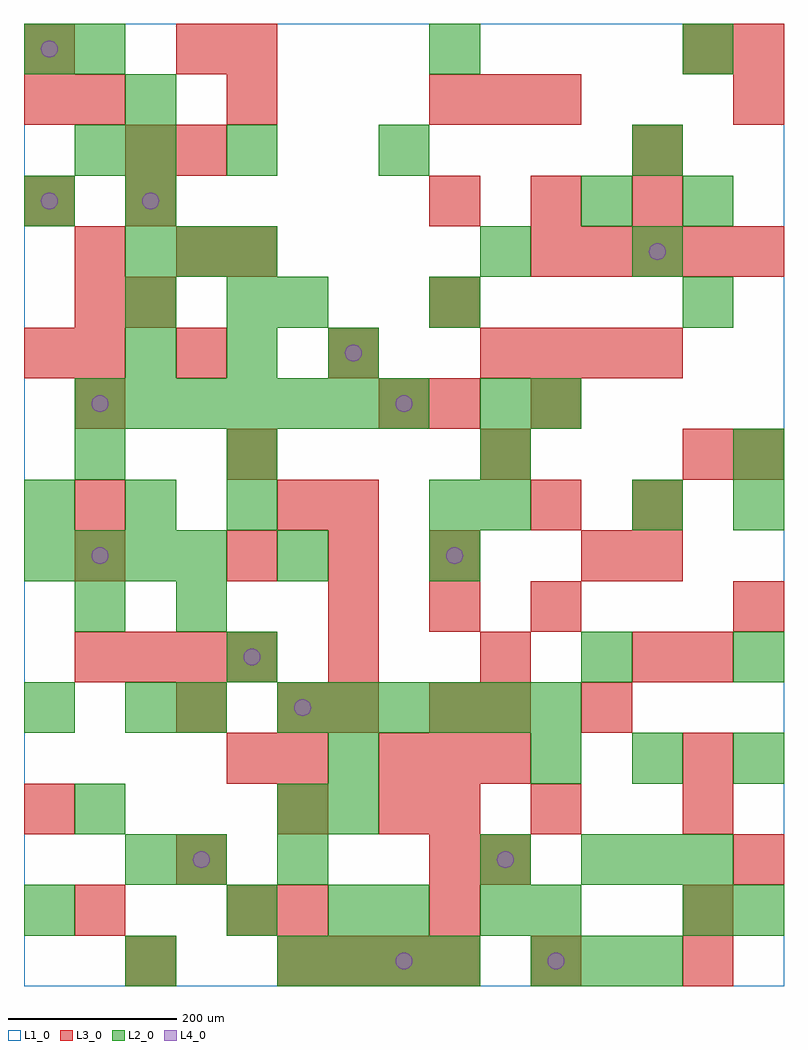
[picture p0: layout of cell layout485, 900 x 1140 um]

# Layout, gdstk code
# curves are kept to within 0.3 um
import gdstk
lib = gdstk.Library(unit=1e-6, precision=1e-09)
def R(c, l, rs):  # rectangles x0, y0, x1, y1
    for r in rs: c.add(gdstk.rectangle(r[:2], r[2:], *l))
def A(c, l, x, y, w, h, nx, ny, dx, dy):  # array of equal rectangles
    R(c, l, [(x+i*dx, y+j*dy, x+i*dx+w, y+j*dy+h) for i in range(nx) for j in range(ny)])
def P(c, l, *ps):  # polygons
    for p in ps: c.add(gdstk.Polygon(p, *l))
L1_0 = (1, 0)
L2_0 = (2, 0)
L3_0 = (3, 0)
L4_0 = (4, 0)

layout485 = lib.new_cell('layout485')
R(layout485, L1_0, [(0,0,900,1140)])
A(layout485, L2_0, 300, 0, 60, 60, 4, 1, 60, 0)
A(layout485, L2_0, 600, 0, 60, 60, 3, 1, 60, 0)
A(layout485, L2_0, 660, 120, 60, 60, 3, 1, 60, 0)
A(layout485, L2_0, 300, 180, 60, 60, 1, 3, 0, 300)
A(layout485, L2_0, 600, 240, 60, 60, 3, 1, 120, 0)
A(layout485, L2_0, 300, 300, 60, 60, 6, 1, 60, 0)
A(layout485, L2_0, 0, 480, 60, 60, 4, 1, 60, 0)
A(layout485, L2_0, 0, 540, 60, 60, 3, 1, 120, 0)
A(layout485, L2_0, 240, 600, 60, 60, 3, 1, 300, 0)
A(layout485, L2_0, 60, 660, 60, 60, 7, 1, 60, 0)
A(layout485, L2_0, 120, 720, 60, 60, 3, 1, 120, 0)
A(layout485, L2_0, 120, 840, 60, 60, 3, 1, 60, 0)
A(layout485, L2_0, 120, 900, 60, 60, 1, 3, 0, 60)
R(layout485, L2_0, [(120,0,180,60), (0,60,60,120), (240,60,300,120), (360,60,420,120), (420,60,480,120), (540,60,600,120), (600,60,660,120), (780,60,840,120), (840,60,900,120), (120,120,180,180), (180,120,240,180), (300,120,360,180), (540,120,600,180), (60,180,120,240), (360,180,420,240), (360,240,420,300), (0,300,60,360), (120,300,180,360), (180,300,240,360), (240,360,300,420), (660,360,720,420), (840,360,900,420), (60,420,120,480), (180,420,240,480), (480,480,540,540), (480,540,540,600), (540,540,600,600), (720,540,780,600), (840,540,900,600), (60,600,120,660), (540,660,600,720), (600,660,660,720), (120,780,180,840), (240,780,300,840), (480,780,540,840), (780,780,840,840), (540,840,600,900), (720,840,780,900), (0,900,60,960), (660,900,720,960), (780,900,840,960), (60,960,120,1020), (240,960,300,1020), (420,960,480,1020), (720,960,780,1020), (0,1080,60,1140), (60,1080,120,1140), (480,1080,540,1140), (780,1080,840,1140)])
A(layout485, L3_0, 300, 0, 60, 60, 4, 1, 60, 0)
A(layout485, L3_0, 480, 60, 60, 60, 1, 3, 0, 60)
A(layout485, L3_0, 300, 180, 60, 60, 1, 3, 0, 60)
A(layout485, L3_0, 420, 240, 60, 60, 3, 1, 60, 0)
A(layout485, L3_0, 60, 360, 60, 60, 4, 1, 60, 0)
A(layout485, L3_0, 360, 360, 60, 60, 3, 1, 180, 0)
A(layout485, L3_0, 360, 420, 60, 60, 3, 1, 120, 0)
A(layout485, L3_0, 240, 480, 60, 60, 3, 1, 120, 0)
A(layout485, L3_0, 60, 660, 60, 60, 1, 4, 0, 60)
A(layout485, L3_0, 180, 720, 60, 60, 3, 1, 180, 0)
A(layout485, L3_0, 600, 720, 60, 60, 3, 1, 60, 0)
A(layout485, L3_0, 180, 840, 60, 60, 1, 3, 0, 120)
A(layout485, L3_0, 600, 840, 60, 60, 5, 1, 60, 0)
A(layout485, L3_0, 480, 900, 60, 60, 3, 1, 120, 0)
A(layout485, L3_0, 480, 1020, 60, 60, 3, 1, 60, 0)
R(layout485, L3_0, [(120,0,180,60), (600,0,660,60), (780,0,840,60), (60,60,120,120), (240,60,300,120), (300,60,360,120), (780,60,840,120), (180,120,240,180), (540,120,600,180), (840,120,900,180), (0,180,60,240), (420,180,480,240), (600,180,660,240), (780,180,840,240), (240,240,300,300), (780,240,840,300), (180,300,240,360), (360,300,420,360), (480,300,540,360), (540,300,600,360), (660,300,720,360), (780,360,840,420), (840,420,900,480), (60,480,120,540), (660,480,720,540), (720,480,780,540), (60,540,120,600), (300,540,360,600), (360,540,420,600), (600,540,660,600), (720,540,780,600), (240,600,300,660), (540,600,600,660), (780,600,840,660), (840,600,900,660), (420,660,480,720), (480,660,540,720), (600,660,660,720), (0,720,60,780), (120,780,180,840), (480,780,540,840), (240,840,300,900), (0,900,60,960), (120,900,180,960), (120,960,180,1020), (720,960,780,1020), (0,1020,60,1080), (60,1020,120,1080), (240,1020,300,1080), (840,1020,900,1080), (0,1080,60,1140), (240,1080,300,1140), (780,1080,840,1140), (840,1080,900,1140)])
P(layout485, L4_0, [(40,930),(39.239,933.827),(37.071,937.071),(33.827,939.239),(30,940),(26.173,939.239),(22.929,937.071),(20.761,933.827),(20,930),(20.761,926.173),(22.929,922.929),(26.173,920.761),(30,920),(33.827,920.761),(37.071,922.929),(39.239,926.173)],
  [(40,1110),(39.239,1113.827),(37.071,1117.071),(33.827,1119.239),(30,1120),(26.173,1119.239),(22.929,1117.071),(20.761,1113.827),(20,1110),(20.761,1106.173),(22.929,1102.929),(26.173,1100.761),(30,1100),(33.827,1100.761),(37.071,1102.929),(39.239,1106.173)],
  [(100,510),(99.239,513.827),(97.071,517.071),(93.827,519.239),(90,520),(86.173,519.239),(82.929,517.071),(80.761,513.827),(80,510),(80.761,506.173),(82.929,502.929),(86.173,500.761),(90,500),(93.827,500.761),(97.071,502.929),(99.239,506.173)],
  [(100,690),(99.239,693.827),(97.071,697.071),(93.827,699.239),(90,700),(86.173,699.239),(82.929,697.071),(80.761,693.827),(80,690),(80.761,686.173),(82.929,682.929),(86.173,680.761),(90,680),(93.827,680.761),(97.071,682.929),(99.239,686.173)],
  [(160,930),(159.239,933.827),(157.071,937.071),(153.827,939.239),(150,940),(146.173,939.239),(142.929,937.071),(140.761,933.827),(140,930),(140.761,926.173),(142.929,922.929),(146.173,920.761),(150,920),(153.827,920.761),(157.071,922.929),(159.239,926.173)],
  [(220,150),(219.239,153.827),(217.071,157.071),(213.827,159.239),(210,160),(206.173,159.239),(202.929,157.071),(200.761,153.827),(200,150),(200.761,146.173),(202.929,142.929),(206.173,140.761),(210,140),(213.827,140.761),(217.071,142.929),(219.239,146.173)],
  [(280,390),(279.239,393.827),(277.071,397.071),(273.827,399.239),(270,400),(266.173,399.239),(262.929,397.071),(260.761,393.827),(260,390),(260.761,386.173),(262.929,382.929),(266.173,380.761),(270,380),(273.827,380.761),(277.071,382.929),(279.239,386.173)],
  [(340,330),(339.239,333.827),(337.071,337.071),(333.827,339.239),(330,340),(326.173,339.239),(322.929,337.071),(320.761,333.827),(320,330),(320.761,326.173),(322.929,322.929),(326.173,320.761),(330,320),(333.827,320.761),(337.071,322.929),(339.239,326.173)],
  [(400,750),(399.239,753.827),(397.071,757.071),(393.827,759.239),(390,760),(386.173,759.239),(382.929,757.071),(380.761,753.827),(380,750),(380.761,746.173),(382.929,742.929),(386.173,740.761),(390,740),(393.827,740.761),(397.071,742.929),(399.239,746.173)],
  [(460,30),(459.239,33.827),(457.071,37.071),(453.827,39.239),(450,40),(446.173,39.239),(442.929,37.071),(440.761,33.827),(440,30),(440.761,26.173),(442.929,22.929),(446.173,20.761),(450,20),(453.827,20.761),(457.071,22.929),(459.239,26.173)],
  [(460,690),(459.239,693.827),(457.071,697.071),(453.827,699.239),(450,700),(446.173,699.239),(442.929,697.071),(440.761,693.827),(440,690),(440.761,686.173),(442.929,682.929),(446.173,680.761),(450,680),(453.827,680.761),(457.071,682.929),(459.239,686.173)],
  [(520,510),(519.239,513.827),(517.071,517.071),(513.827,519.239),(510,520),(506.173,519.239),(502.929,517.071),(500.761,513.827),(500,510),(500.761,506.173),(502.929,502.929),(506.173,500.761),(510,500),(513.827,500.761),(517.071,502.929),(519.239,506.173)],
  [(580,150),(579.239,153.827),(577.071,157.071),(573.827,159.239),(570,160),(566.173,159.239),(562.929,157.071),(560.761,153.827),(560,150),(560.761,146.173),(562.929,142.929),(566.173,140.761),(570,140),(573.827,140.761),(577.071,142.929),(579.239,146.173)],
  [(640,30),(639.239,33.827),(637.071,37.071),(633.827,39.239),(630,40),(626.173,39.239),(622.929,37.071),(620.761,33.827),(620,30),(620.761,26.173),(622.929,22.929),(626.173,20.761),(630,20),(633.827,20.761),(637.071,22.929),(639.239,26.173)],
  [(760,870),(759.239,873.827),(757.071,877.071),(753.827,879.239),(750,880),(746.173,879.239),(742.929,877.071),(740.761,873.827),(740,870),(740.761,866.173),(742.929,862.929),(746.173,860.761),(750,860),(753.827,860.761),(757.071,862.929),(759.239,866.173)])

lib.write_gds('layout485.gds')
